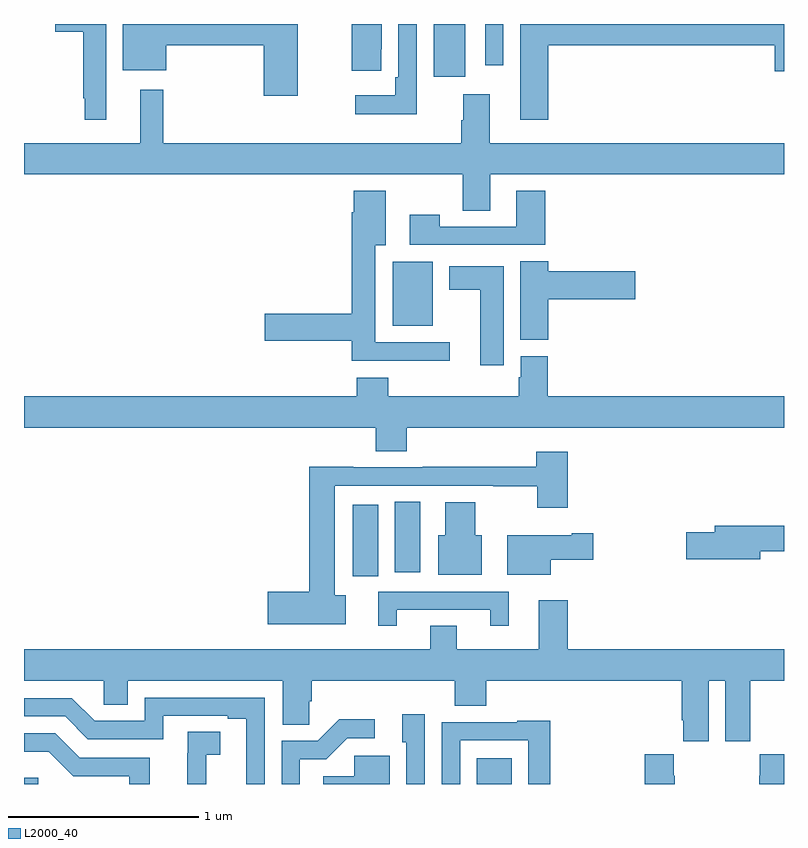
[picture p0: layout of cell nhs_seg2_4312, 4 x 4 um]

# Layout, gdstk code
import gdstk
lib = gdstk.Library(unit=1e-6, precision=1e-09)
def R(c, l, rs):  # rectangles x0, y0, x1, y1
    for r in rs: c.add(gdstk.rectangle(r[:2], r[2:], *l))
def P(c, l, *ps):  # polygons
    for p in ps: c.add(gdstk.Polygon(p, *l))
L2000_40 = (2000, 40)

nhs_seg2_4312 = lib.new_cell('nhs_seg2_4312')
R(nhs_seg2_4312, L2000_40, [(345,605.8,345.075,605.833), (347.384,605.8,347.566,605.935), (346.73,606.894,346.864,607.27), (346.952,606.915,347.086,607.286), (346.94,608.213,347.152,608.548), (347.156,609.522,347.323,609.8), (347.427,609.582,347.523,609.8)])
P(nhs_seg2_4312, L2000_40, [(345.433,609.8),(345.164,609.8),(345.164,609.758),(345.312,609.758),(345.312,609.409),(345.319,609.409),(345.319,609.297),(345.433,609.297)],
  [(347.759,609.688),(348.95,609.688),(348.95,609.551),(349,609.551),(349,609.8),(347.612,609.8),(347.612,609.297),(347.759,609.297)],
  [(346.881,609.667),(346.882,609.667),(346.882,609.8),(346.726,609.8),(346.726,609.555),(346.881,609.555)],
  [(347.067,609.8),(346.971,609.8),(346.971,609.52),(346.955,609.52),(346.955,609.424),(346.743,609.424),(346.743,609.326),(347.067,609.326)],
  [(346.44,609.8),(345.521,609.8),(345.521,609.557),(345.748,609.557),(345.748,609.688),(346.262,609.688),(346.262,609.423),(346.44,609.423)],
  [(347.455,609.008),(349,609.008),(349,609.172),(347.452,609.172),(347.452,609.43),(347.312,609.43),(347.312,609.293),(347.3,609.293),(347.3,609.172),(345.733,609.172),(345.733,609.454),(345.611,609.454),(345.611,609.172),(345,609.172),(345,609.008),(347.308,609.008),(347.308,608.818),(347.455,608.818)],
  [(347.242,608.124),(346.849,608.124),(346.849,608.636),(346.903,608.636),(346.903,608.923),(346.736,608.923),(346.736,608.81),(346.724,608.81),(346.724,608.276),(346.266,608.276),(346.266,608.134),(346.724,608.134),(346.724,608.027),(347.242,608.027)],
  [(347.744,608.923),(347.591,608.923),(347.591,608.733),(347.187,608.733),(347.187,608.797),(347.031,608.797),(347.031,608.637),(347.744,608.637)],
  [(347.759,608.351),(348.217,608.351),(348.217,608.498),(347.759,608.498),(347.759,608.552),(347.612,608.552),(347.612,608.137),(347.759,608.137)],
  [(347.524,608.524),(347.237,608.524),(347.237,608.402),(347.402,608.402),(347.402,608.004),(347.524,608.004)],
  [(347.015,607.676),(349,607.676),(349,607.84),(347.756,607.84),(347.756,608.052),(347.615,608.052),(347.615,607.941),(347.603,607.941),(347.603,607.84),(346.916,607.84),(346.916,607.939),(346.751,607.939),(346.751,607.84),(345,607.84),(345,607.676),(346.85,607.676),(346.85,607.552),(347.015,607.552)],
  [(346.693,606.794),(346.636,606.794),(346.636,607.371),(347.47,607.371),(347.47,607.366),(347.701,607.366),(347.701,607.254),(347.861,607.254),(347.861,607.549),(347.696,607.549),(347.696,607.469),(347.098,607.469),(347.098,607.467),(346.732,607.467),(346.732,607.469),(346.502,607.469),(346.502,606.812),(346.284,606.812),(346.284,606.641),(346.693,606.641)],
  [(347.41,607.108),(347.374,607.108),(347.374,607.282),(347.216,607.282),(347.216,607.108),(347.18,607.108),(347.18,606.902),(347.41,606.902)],
  [(348.874,607.024),(349,607.024),(349,607.16),(348.635,607.16),(348.635,607.124),(348.486,607.124),(348.486,606.982),(348.874,606.982)],
  [(347.773,606.979),(347.995,606.979),(347.995,607.121),(347.882,607.121),(347.882,607.108),(347.543,607.108),(347.543,606.902),(347.773,606.902)],
  [(346.963,606.717),(347.453,606.717),(347.453,606.633),(347.551,606.633),(347.551,606.813),(346.865,606.813),(346.865,606.633),(346.963,606.633)],
  [(348.604,606.344),(348.692,606.344),(348.692,606.024),(348.822,606.024),(348.822,606.136),(348.823,606.136),(348.823,606.344),(349,606.344),(349,606.508),(347.861,606.508),(347.861,606.766),(347.708,606.766),(347.708,606.508),(347.278,606.508),(347.278,606.632),(347.138,606.632),(347.138,606.508),(345,606.508),(345,606.344),(345.42,606.344),(345.42,606.217),(345.547,606.217),(345.547,606.344),(346.361,606.344),(346.361,606.112),(346.5,606.112),(346.5,606.235),(346.514,606.235),(346.514,606.344),(347.267,606.344),(347.267,606.211),(347.432,606.211),(347.432,606.344),(348.461,606.344),(348.461,606.136),(348.47,606.136),(348.47,606.024),(348.604,606.024)],
  [(346.266,606.255),(345.636,606.255),(345.636,606.132),(345.372,606.132),(345.252,606.252),(345,606.252),(345,606.156),(345.216,606.156),(345.336,606.036),(345.732,606.036),(345.732,606.159),(346.073,606.159),(346.073,606.144),(346.169,606.144),(346.169,605.8),(346.266,605.8)],
  [(347.109,606.166),(346.991,606.166),(346.991,606.021),(347.013,606.021),(347.013,605.8),(347.109,605.8)],
  [(346.452,605.931),(346.59,605.931),(346.701,606.042),(346.846,606.042),(346.846,606.14),(346.658,606.14),(346.545,606.027),(346.356,606.027),(346.356,605.8),(346.452,605.8)],
  [(347.295,606.03),(347.655,606.03),(347.655,605.8),(347.771,605.8),(347.771,606.133),(347.595,606.133),(347.595,606.126),(347.199,606.126),(347.199,605.8),(347.295,605.8)],
  [(345.959,605.953),(346.033,605.953),(346.033,606.074),(345.862,606.074),(345.862,605.963),(345.86,605.963),(345.86,605.8),(345.959,605.8)],
  [(345.661,605.937),(345.294,605.937),(345.165,606.066),(345,606.066),(345,605.969),(345.13,605.969),(345.258,605.841),(345.554,605.841),(345.554,605.8),(345.661,605.8)],
  [(348.426,605.843),(348.419,605.843),(348.419,605.956),(348.266,605.956),(348.266,605.8),(348.426,605.8)],
  [(349,605.956),(348.873,605.956),(348.873,605.843),(348.871,605.843),(348.871,605.8),(349,605.8)],
  [(346.924,605.949),(346.737,605.949),(346.737,605.842),(346.575,605.842),(346.575,605.8),(346.924,605.8)])

lib.write_gds('nhs_seg2_4312.gds')
